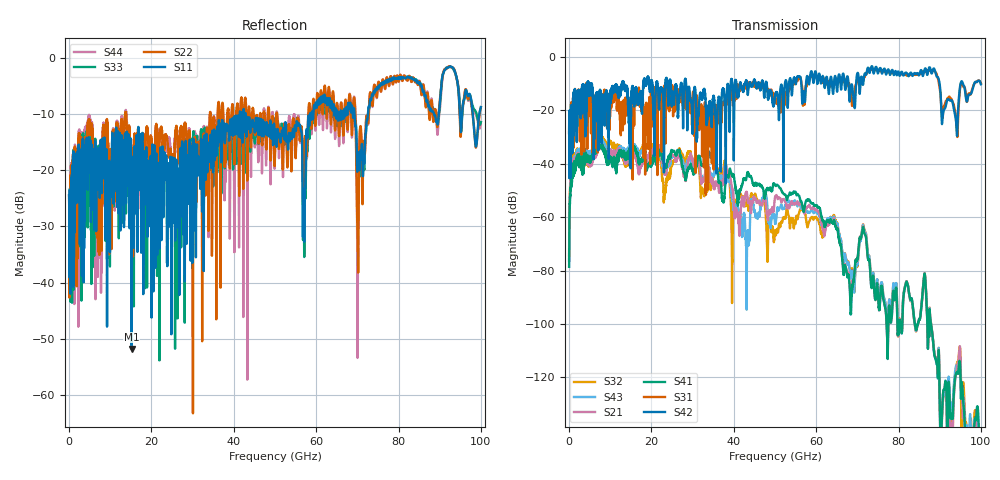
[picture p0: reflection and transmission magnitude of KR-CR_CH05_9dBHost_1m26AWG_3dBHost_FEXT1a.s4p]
# GHz S MA R 50.00
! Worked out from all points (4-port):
!   10000 points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, 10 MHz to 100 GHz, reference 50 ohm
!   strongest paths, dB at 10 MHz, 25.01 GHz, 50.01 GHz, 75.01 GHz, 100 GHz:
!     S42: -28.5, -16.1, -14.7, -6.1, -10.2
!     S31: -28.5, -10.6, -15.5, -4.7, -9.9
!     S41: -78.6, -35.6, -47.9, -89.5, -144.7
!     S21: -76.2, -37.0, -52.5, -89.6, -140.4
!     S43: -76.4, -37.6, -62.2, -87.1, -147.6
!     S32: -74.2, -40.6, -65.3, -87.2, -139.3
!   lowest |S11| = -51.8 dB at 15.16 GHz (marker M1), VSWR 1.01, Z = 50.3 - j0.022 ohm
!   |S11| at or under -10 dB: start of sweep to 41.44 GHz; 42.9 GHz to 58.52 GHz (15.63 GHz wide, 30.8 % of centre); 69.31 GHz to 72.55 GHz (3.245 GHz wide, 4.58 % of centre) (the widest 3 of 20)
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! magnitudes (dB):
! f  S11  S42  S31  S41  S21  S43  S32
! 10 MHz  -24.4  -28.5  -28.5  -78.6  -76.2  -76.4  -74.2
! 1.88 GHz  -24.1  -25.2  -16.2  -37.5  -36.6  -35.3  -34.6
! 15.16 GHz  -51.8  -13.9  -20.3  -33.8  -35.2  -33.1  -35.7
! 38.05 GHz  -12.6  -47.3  -19.5  -45.5  -40.2  -40.0  -39.7
! 43.34 GHz  -10.6  -13.8  -9.6  -43.4  -53.0  -65.0  -53.9
! 67.77 GHz  -8.1  -8.4  -11.0  -81.7  -81.0  -77.0  -76.7
! 100 GHz  -8.8  -10.2  -9.9  -144.7  -140.4  -147.6  -139.3
